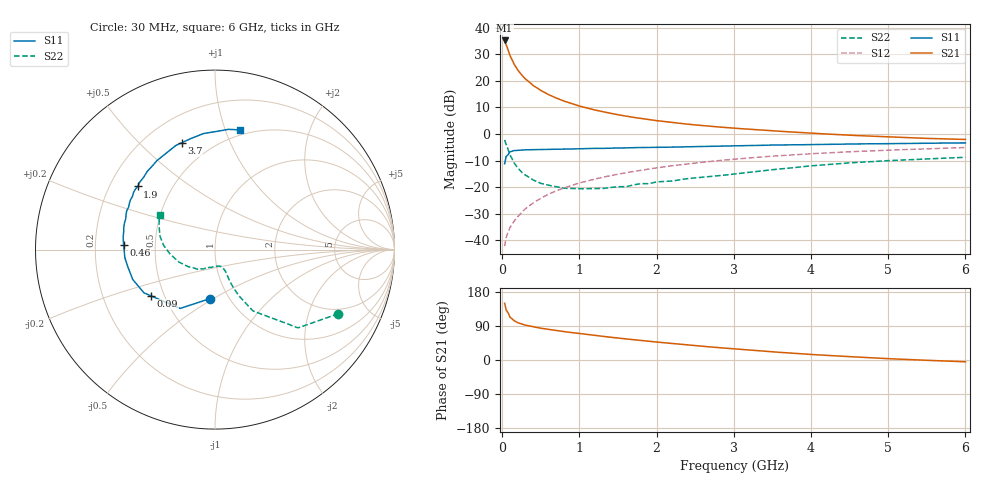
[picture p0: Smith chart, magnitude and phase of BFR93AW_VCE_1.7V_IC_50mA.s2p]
! Infineon Technologies  Discrete & RF Semiconductors
! BFR93AW
! VCE =  1.7 V,  IC =  50 mA
! Common Emitter S-Parameters:  Nov 2015
# GHz  S  MA  R  50
!  f  S11  S21  S12  S22
! GHz  MAG  ANG  MAG  ANG  MAG  ANG  MAG  ANG
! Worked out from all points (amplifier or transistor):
!   206 points, 30 MHz to 6 GHz, reference 50 ohm
!   highest |S21| = 35.2 dB at 30 MHz (marker M1)
!   |S21| within 3 dB of that: start of sweep to 68.3 MHz
!   unconditionally stable (mu >= 1): 293.3 MHz to 2.455 GHz
!   at 200 MHz: K = 0.94, MSG = 27.6 dB, |S12| = -31.1 dB
!   at 1.56 GHz: K = 1.05, MAG = 9.5 dB, |S12| = -14.8 dB
!   at 6 GHz: K = 0.96, MSG = 1.5 dB, |S12| = -5.1 dB
!   S11 on the Smith chart (normalised r, x): 30 MHz: 0.82, -0.48; 90 MHz: 0.42, -0.27; 460 MHz: 0.32, +0.02; 1.9 GHz: 0.32, +0.32; 3.7 GHz: 0.35, +0.68; 6 GHz: 0.45, +1.12
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0.03  0.2748 -95.9  57.24 149.6  0.0078 70.7  0.7743 -27.5
0.05  0.3809 -120.6  47.52 131.8  0.0112 66.5  0.6358 -43.3
0.09  0.4394 -144.0  32.84 118.1  0.0162 63.5  0.4459 -54.0
0.1  0.4634 -148.7  29.64 112.6  0.0175 63.0  0.4023 -58.2
0.15  0.4875 -160.0  20.77 103.9  0.0226 66.4  0.2897 -62.7
0.2  0.4929 -166.8  15.95 98.5  0.0278 69.2  0.23 -64.4
0.26  0.5 -172.3  12.45 94.3  0.0347 72.2  0.1865 -64.9
0.3  0.5041 -174.9  10.8 91.9  0.0394 72.7  0.1689 -64.8
0.4  0.5076 179.8  8.146 87.5  0.0505 74.2  0.1366 -64.3
0.46  0.5097 177.3  7.193 85.4  0.0572 74.6  0.1255 -65.0
0.6  0.5161 172.7  5.486 80.7  0.0739 74.9  0.1084 -66.4
0.7  0.5177 169.4  4.733 77.6  0.0854 74.6  0.1022 -69.1
0.9  0.5256 163.6  3.711 72.2  0.1082 73.4  0.0946 -75.9
1.04  0.5287 159.9  3.236 68.8  0.1243 72.0  0.0932 -82.5
1.4  0.5422 151.7  2.449 60.1  0.1646 69.0  0.0988 -99.6
1.9  0.5565 140.8  1.866 49.4  0.22 64.1  0.1163 -117.1
2.02  0.5631 138.1  1.768 47.0  0.2331 62.9  0.1264 -121.3
3.1  0.6006 117.5  1.257 27.9  0.345 50.8  0.1828 -150.4
3.7  0.6234 107.4  1.101 18.8  0.4003 43.8  0.2273 -167.0
4.1  0.6351 101.2  1.018 13.5  0.4336 39.1  0.2583 -176.8
5.1  0.6607 88.2  0.871 2.7  0.5028 28.1  0.32 164.1
6  0.6807 78.2  0.79 -4.7  0.5563 19.0  0.3649 147.7
